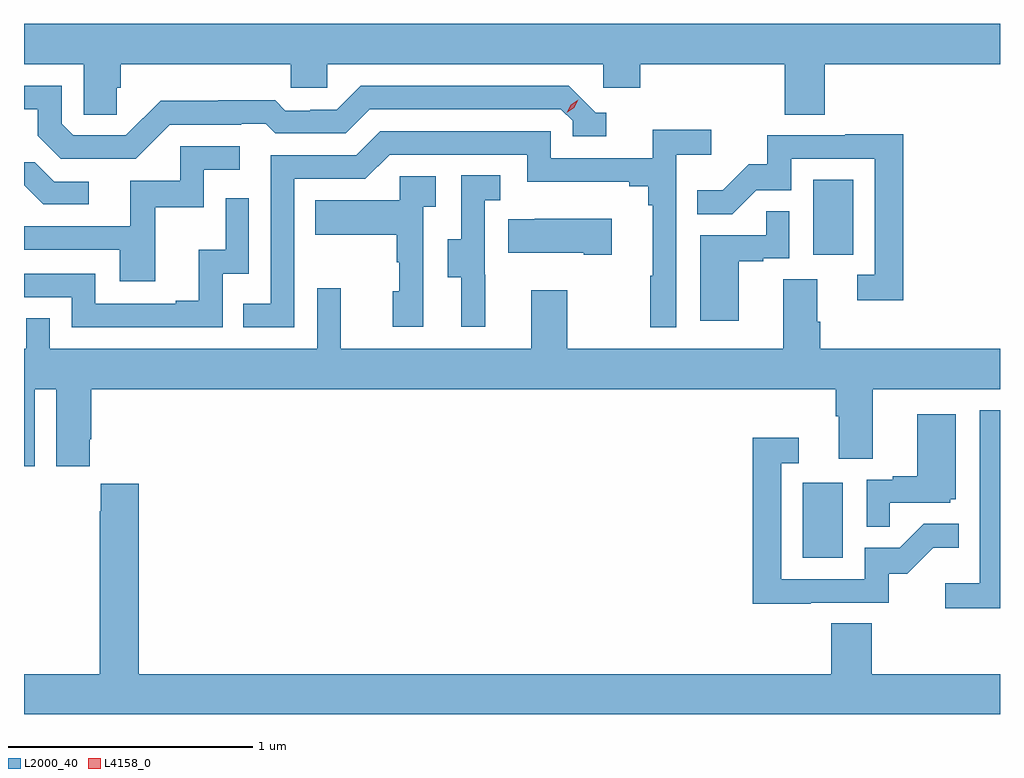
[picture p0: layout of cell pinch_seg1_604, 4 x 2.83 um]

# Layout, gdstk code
import gdstk
lib = gdstk.Library(unit=1e-6, precision=1e-09)
def R(c, l, rs):  # rectangles x0, y0, x1, y1
    for r in rs: c.add(gdstk.rectangle(r[:2], r[2:], *l))
def P(c, l, *ps):  # polygons
    for p in ps: c.add(gdstk.Polygon(p, *l))
L2000_40 = (2000, 40)
L4158_0 = (4158, 0)

pinch_seg1_604 = lib.new_cell('pinch_seg1_604')
R(pinch_seg1_604, L2000_40, [(1082.18,507.084,1082.344,507.391), (1082.222,508.326,1082.386,508.633)])
P(pinch_seg1_604, L2000_40, [(1079.369,509.01),(1079.384,509.01),(1079.384,509.108),(1080.081,509.108),(1080.081,509.01),(1080.231,509.01),(1080.231,509.108),(1081.362,509.108),(1081.362,509.01),(1081.514,509.01),(1081.514,509.108),(1082.105,509.108),(1082.105,508.9),(1082.27,508.9),(1082.27,509.108),(1082.988,509.108),(1082.988,509.272),(1078.988,509.272),(1078.988,509.108),(1079.232,509.108),(1079.232,508.9),(1079.369,508.9)],
  [(1079.586,508.86),(1079.879,508.86),(1079.879,508.863),(1079.978,508.863),(1080.017,508.824),(1080.306,508.824),(1080.405,508.923),(1081.188,508.923),(1081.236,508.875),(1081.236,508.812),(1081.375,508.812),(1081.375,508.908),(1081.332,508.908),(1081.221,509.019),(1080.368,509.019),(1080.269,508.92),(1080.162,508.92),(1080.162,508.917),(1080.059,508.917),(1080.017,508.96),(1079.784,508.96),(1079.784,508.957),(1079.548,508.957),(1079.406,508.815),(1079.19,508.815),(1079.142,508.863),(1079.142,509.019),(1078.988,509.019),(1078.988,508.923),(1079.045,508.923),(1079.045,508.813),(1079.139,508.719),(1079.445,508.719)],
  [(1080.096,508.638),(1080.387,508.638),(1080.486,508.737),(1081.05,508.737),(1081.05,508.625),(1081.469,508.625),(1081.469,508.606),(1081.546,508.606),(1081.546,508.529),(1081.565,508.529),(1081.565,508.241),(1081.554,508.241),(1081.554,508.029),(1081.662,508.029),(1081.662,508.736),(1081.804,508.736),(1081.804,508.838),(1081.565,508.838),(1081.565,508.722),(1081.146,508.722),(1081.146,508.833),(1080.449,508.833),(1080.35,508.734),(1080,508.734),(1080,508.125),(1079.887,508.125),(1079.887,508.029),(1080.096,508.029)],
  [(1082.591,508.82),(1082.353,508.82),(1082.353,508.815),(1082.035,508.815),(1082.035,508.698),(1081.958,508.698),(1081.851,508.591),(1081.747,508.591),(1081.747,508.492),(1081.891,508.492),(1081.989,508.59),(1082.133,508.59),(1082.133,508.719),(1082.475,508.719),(1082.475,508.245),(1082.403,508.245),(1082.403,508.14),(1082.591,508.14)],
  [(1079.525,508.521),(1079.724,508.521),(1079.724,508.674),(1079.872,508.674),(1079.872,508.77),(1079.628,508.77),(1079.628,508.629),(1079.423,508.629),(1079.423,508.443),(1078.988,508.443),(1078.988,508.347),(1079.381,508.347),(1079.381,508.218),(1079.525,508.218)],
  [(1079.254,508.626),(1079.112,508.626),(1079.032,508.706),(1078.988,508.706),(1078.988,508.611),(1079.066,508.533),(1079.254,508.533)],
  [(1080.878,508.245),(1080.876,508.245),(1080.876,508.549),(1080.94,508.549),(1080.94,508.652),(1080.78,508.652),(1080.78,508.389),(1080.725,508.389),(1080.725,508.234),(1080.779,508.234),(1080.779,508.032),(1080.878,508.032)],
  [(1080.624,508.523),(1080.676,508.523),(1080.676,508.647),(1080.528,508.647),(1080.528,508.549),(1080.181,508.549),(1080.181,508.409),(1080.516,508.409),(1080.516,508.295),(1080.526,508.295),(1080.526,508.176),(1080.5,508.176),(1080.5,508.032),(1080.624,508.032)],
  [(1079.802,508.248),(1079.91,508.248),(1079.91,508.558),(1079.814,508.558),(1079.814,508.346),(1079.705,508.346),(1079.705,508.138),(1079.609,508.138),(1079.609,508.125),(1079.28,508.125),(1079.28,508.248),(1078.988,508.248),(1078.988,508.152),(1079.184,508.152),(1079.184,508.029),(1079.802,508.029)],
  [(1081.918,508.299),(1082.018,508.299),(1082.018,508.311),(1082.124,508.311),(1082.124,508.505),(1082.029,508.505),(1082.029,508.407),(1081.76,508.407),(1081.76,508.056),(1081.918,508.056)],
  [(1081.396,508.474),(1081.081,508.474),(1081.081,508.471),(1080.973,508.471),(1080.973,508.334),(1081.283,508.334),(1081.283,508.327),(1081.396,508.327)],
  [(1079.032,507.776),(1079.12,507.776),(1079.12,507.459),(1079.257,507.459),(1079.257,507.571),(1079.264,507.571),(1079.264,507.776),(1082.315,507.776),(1082.315,507.664),(1082.327,507.664),(1082.327,507.49),(1082.467,507.49),(1082.467,507.776),(1082.988,507.776),(1082.988,507.94),(1082.252,507.94),(1082.252,508.052),(1082.239,508.052),(1082.239,508.226),(1082.099,508.226),(1082.099,507.94),(1081.215,507.94),(1081.215,508.18),(1081.067,508.18),(1081.067,507.94),(1080.287,507.94),(1080.287,508.189),(1080.189,508.189),(1080.189,507.94),(1079.094,507.94),(1079.094,508.067),(1078.998,508.067),(1078.998,507.94),(1078.988,507.94),(1078.988,507.459),(1079.032,507.459)],
  [(1082.988,507.688),(1082.904,507.688),(1082.904,506.98),(1082.763,506.98),(1082.763,506.878),(1082.988,506.878)],
  [(1082.537,507.309),(1082.784,507.309),(1082.784,507.324),(1082.806,507.324),(1082.806,507.673),(1082.648,507.673),(1082.648,507.418),(1082.549,507.418),(1082.549,507.405),(1082.442,507.405),(1082.442,507.211),(1082.537,507.211)],
  [(1082.213,506.901),(1082.532,506.901),(1082.532,507.018),(1082.608,507.018),(1082.715,507.125),(1082.819,507.125),(1082.819,507.224),(1082.675,507.224),(1082.577,507.126),(1082.433,507.126),(1082.433,506.997),(1082.091,506.997),(1082.091,507.471),(1082.164,507.471),(1082.164,507.577),(1081.975,507.577),(1081.975,506.896),(1082.213,506.896)],
  [(1082.988,506.608),(1082.462,506.608),(1082.462,506.816),(1082.297,506.816),(1082.297,506.608),(1079.459,506.608),(1079.459,507.388),(1079.303,507.388),(1079.303,507.275),(1079.299,507.275),(1079.299,506.608),(1078.988,506.608),(1078.988,506.444),(1082.988,506.444)])
P(pinch_seg1_604, L4158_0, [(1081.212,508.909),(1081.212,508.909),(1081.228,508.941),(1081.259,508.961),(1081.26,508.961),(1081.26,508.961),(1081.243,508.928),(1081.212,508.909)])

lib.write_gds('pinch_seg1_604.gds')
